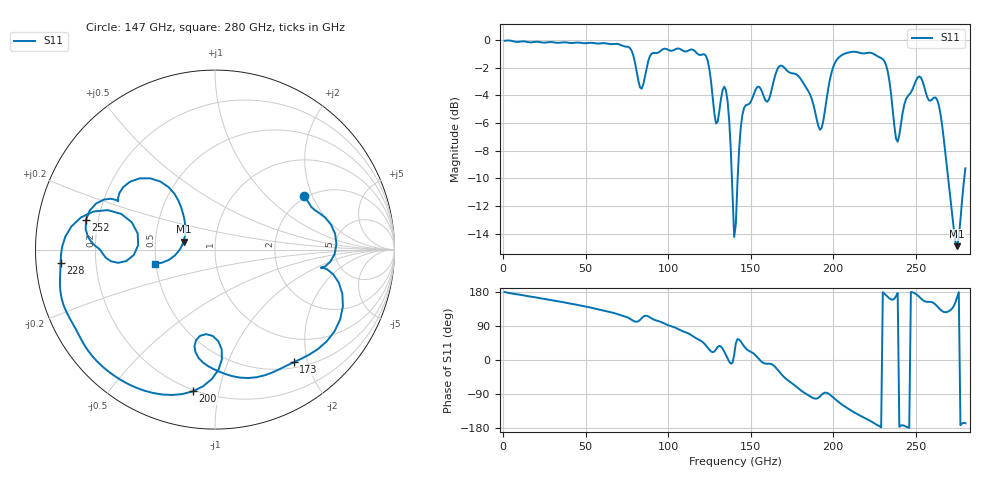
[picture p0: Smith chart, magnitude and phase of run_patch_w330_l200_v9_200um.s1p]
#  Hz  S  RI  R  50
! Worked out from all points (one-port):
!   280 points, 1 GHz to 280 GHz, reference 50 ohm
!   lowest |S11| = -14.9 dB at 275 GHz (marker M1), VSWR 1.44, Z = 35 + j3.15 ohm
!   |S11| at or under -10 dB: 138.6 GHz to 142.1 GHz (3.483 GHz wide, 2.48 % of centre); 269.6 GHz to 279.3 GHz (9.726 GHz wide, 3.54 % of centre)
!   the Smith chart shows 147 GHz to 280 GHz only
!   S11 on the Smith chart (normalised r, x): 147 GHz: 1.95, +1.75; 173 GHz: 0.58, -1.77; 200 GHz: 0.19, -0.84; 228 GHz: 0.07, -0.04; 252 GHz: 0.15, +0.11; 280 GHz: 0.49, -0.09
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1e9  -0.9921 0.0125
3.6e10  -0.8711 0.4459
7.1e10  -0.4597 0.8421
7.8e10  -0.2498 0.8761
8.4e10  -0.234 0.6238
8.8e10  -0.3554 0.7607
1.06e11  0.1315 0.921
1.24e11  0.7098 0.4486
1.3e11  0.4177 0.2852
1.35e11  0.6412 0.1504
1.38e11  0.3901 -0.0663
1.41e11  0.1557 0.1501
1.47e11  0.4986 0.2969
1.66e11  0.7126 -0.3164
1.73e11  0.4375 -0.628
1.76e11  0.3223 -0.6836
1.87e11  -0.091 -0.6044
1.92e11  -0.0494 -0.4709
2e11  -0.1226 -0.7892
2.11e11  -0.6247 -0.6535
2.28e11  -0.8608 -0.0762
2.34e11  -0.6766 0.2123
2.38e11  -0.4307 0.0896
2.46e11  -0.6348 -0.00775
2.52e11  -0.7188 0.1664
2.65e11  -0.361 0.3971
2.75e11  -0.1748 0.0435
2.8e11  -0.3348 -0.0783
